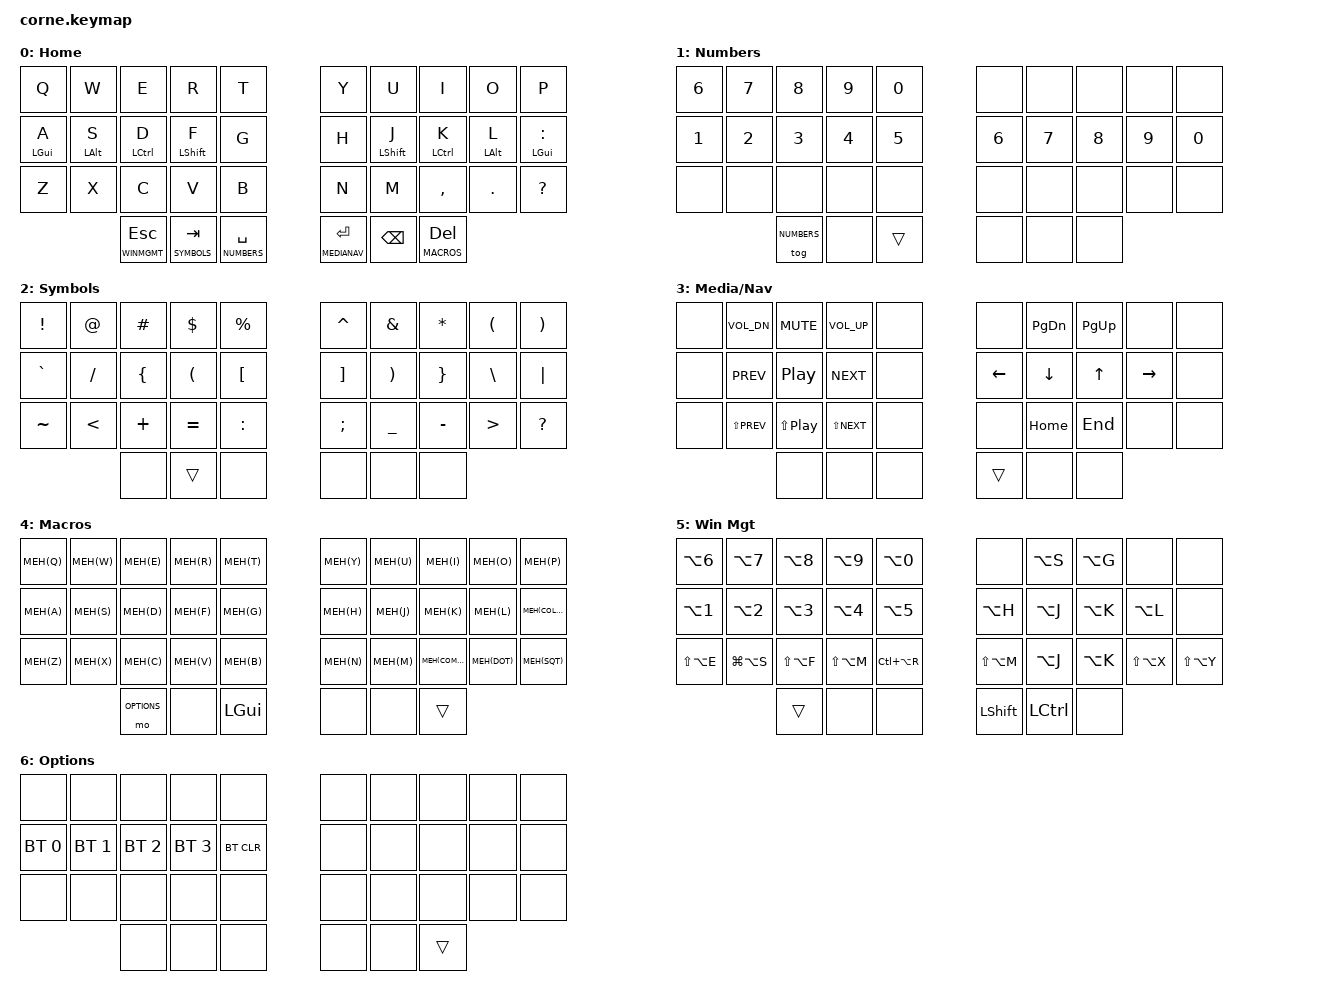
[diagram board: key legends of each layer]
#include <behaviors.dtsi>
#include <dt-bindings/zmk/keys.h>
#include <dt-bindings/zmk/bt.h>

#define DEFAULT     0
#define NUMBERS     1
#define SYMBOLS     2
#define MEDIANAV    3
#define MACROS      4
#define WINMGMT     5
#define OPTIONS     6

#define MEH(code) LS(LA(LC(code)))

/ {
    chosen {
      zmk,matrix_transform = &five_column_transform;
    };

    macros {
        // Layer + F-key macros for signaling
        lf13: layer_f13 {
            compatible = "zmk,behavior-macro-one-param";
            wait-ms = <0>;
            tap-ms = <0>;
            #binding-cells = <1>;
            bindings
                = <&macro_param_1to1>
                , <&macro_press &mo MACRO_PLACEHOLDER &kp F13>
                , <&macro_pause_for_release>
                , <&macro_param_1to1>
                , <&macro_release &mo MACRO_PLACEHOLDER &kp F13>
                ;
        };
        
        lf14: layer_f14 {
            compatible = "zmk,behavior-macro-one-param";
            wait-ms = <0>;
            tap-ms = <0>;
            #binding-cells = <1>;
            bindings
                = <&macro_param_1to1>
                , <&macro_press &mo MACRO_PLACEHOLDER &kp F14>
                , <&macro_pause_for_release>
                , <&macro_param_1to1>
                , <&macro_release &mo MACRO_PLACEHOLDER &kp F14>
                ;
        };
        
        lf15: layer_f15 {
            compatible = "zmk,behavior-macro-one-param";
            wait-ms = <0>;
            tap-ms = <0>;
            #binding-cells = <1>;
            bindings
                = <&macro_param_1to1>
                , <&macro_press &mo MACRO_PLACEHOLDER &kp F15>
                , <&macro_pause_for_release>
                , <&macro_param_1to1>
                , <&macro_release &mo MACRO_PLACEHOLDER &kp F15>
                ;
        };
        
        lf16: layer_f16 {
            compatible = "zmk,behavior-macro-one-param";
            wait-ms = <0>;
            tap-ms = <0>;
            #binding-cells = <1>;
            bindings
                = <&macro_param_1to1>
                , <&macro_press &mo MACRO_PLACEHOLDER &kp F16>
                , <&macro_pause_for_release>
                , <&macro_param_1to1>
                , <&macro_release &mo MACRO_PLACEHOLDER &kp F16>
                ;
        };
        
        lf17: layer_f17 {
            compatible = "zmk,behavior-macro-one-param";
            wait-ms = <0>;
            tap-ms = <0>;
            #binding-cells = <1>;
            bindings
                = <&macro_param_1to1>
                , <&macro_press &mo MACRO_PLACEHOLDER &kp F17>
                , <&macro_pause_for_release>
                , <&macro_param_1to1>
                , <&macro_release &mo MACRO_PLACEHOLDER &kp F17>
                ;
        };
        
        lf18: layer_f18 {
            compatible = "zmk,behavior-macro-one-param";
            wait-ms = <0>;
            tap-ms = <0>;
            #binding-cells = <1>;
            bindings
                = <&macro_param_1to1>
                , <&macro_press &mo MACRO_PLACEHOLDER &kp F18>
                , <&macro_pause_for_release>
                , <&macro_param_1to1>
                , <&macro_release &mo MACRO_PLACEHOLDER &kp F18>
                ;
        };
    };

    behaviors {
        hm: homerow_mods {
            compatible = "zmk,behavior-hold-tap";
            #binding-cells = <2>;
            tapping-term-ms = <200>;
            quick-tap-ms = <200>;
            flavor = "tap-preferred";
            bindings = <&kp>, <&kp>;
        };
        
        // Custom hold-tap for layer switching with F-key signaling
        lt_signal: layer_tap_signal {
            compatible = "zmk,behavior-hold-tap";
            #binding-cells = <2>;
            tapping-term-ms = <200>;
            quick-tap-ms = <200>;
            flavor = "tap-preferred";
            bindings = <&mo>, <&kp>;  // For simple layer switching without F-key
        };
        
        // Hold-tap that uses the layer+F-key macros
        lt_f13: layer_tap_f13 {
            compatible = "zmk,behavior-hold-tap";
            #binding-cells = <2>;
            tapping-term-ms = <200>;
            quick-tap-ms = <200>;
            flavor = "tap-preferred";
            bindings = <&lf13>, <&kp>;
        };
        
        lt_f14: layer_tap_f14 {
            compatible = "zmk,behavior-hold-tap";
            #binding-cells = <2>;
            tapping-term-ms = <200>;
            quick-tap-ms = <200>;
            flavor = "tap-preferred";
            bindings = <&lf14>, <&kp>;
        };
        
        lt_f15: layer_tap_f15 {
            compatible = "zmk,behavior-hold-tap";
            #binding-cells = <2>;
            tapping-term-ms = <200>;
            quick-tap-ms = <200>;
            flavor = "tap-preferred";
            bindings = <&lf15>, <&kp>;
        };
        
        lt_f16: layer_tap_f16 {
            compatible = "zmk,behavior-hold-tap";
            #binding-cells = <2>;
            tapping-term-ms = <200>;
            quick-tap-ms = <200>;
            flavor = "tap-preferred";
            bindings = <&lf16>, <&kp>;
        };
        
        lt_f17: layer_tap_f17 {
            compatible = "zmk,behavior-hold-tap";
            #binding-cells = <2>;
            tapping-term-ms = <200>;
            quick-tap-ms = <200>;
            flavor = "tap-preferred";
            bindings = <&lf17>, <&kp>;
        };
        
        lt_f18: layer_tap_f18 {
            compatible = "zmk,behavior-hold-tap";
            #binding-cells = <2>;
            tapping-term-ms = <200>;
            quick-tap-ms = <200>;
            flavor = "tap-preferred";
            bindings = <&lf18>, <&kp>;
        };
    };

    keymap {
        compatible = "zmk,keymap";

        default_layer {
            display-name = "Home";
            bindings = <
// ------------------------------------------------------------------------------------------------------------------------------------
// |     Q     |     W     |     E     |     R     |     T     |          |     Y     |     U     |     I     |     O     |     P     |
       &kp Q       &kp W       &kp E       &kp R       &kp T                  &kp Y       &kp U       &kp I       &kp O       &kp P
// |   A(GUI)  |   S(ALT)  |  D(CTRL)  |  F(SHFT)  |     G     |          |     H     |  J(SHFT)  |  K(CTRL)  |   L(ALT)  |   ;(GUI)  |
    &hm LGUI A  &hm LALT S  &hm LCTRL D &hm LSHIFT F   &kp G                  &kp H   &hm LSHIFT J &hm LCTRL K  &hm LALT L &hm LGUI COLON
// |     Z     |     X     |     C     |     V     |     B     |          |     N     |     M     |     ,     |     .     |     ?     |
       &kp Z       &kp X       &kp C       &kp V       &kp B                  &kp N       &kp M      &kp COMMA    &kp DOT   &kp QMARK
// |     ESC(WM)     |     TAB(Symb)    |      SPC(Num)        |          |     ENT(Media/Nav)   |    BKSP    |      DEL(MACROS)       |
  &lt_f17 WINMGMT ESC  &lt_f14 SYMBOLS TAB  &lt_f13 NUMBERS SPACE        &lt_f15 MEDIANAV RET    &kp BSPC     &lt_f16 MACROS DEL
// ------------------------------------------------------------------------------------------------------------------------------------
            >;
        };

        numbers_layer {
            display-name = "Numbers";
            bindings = <
// ------------------------------------------------------------------------------------------------------------------------------------
// |     6     |     7     |     8     |     9     |     0     |          |           |           |           |           |           |
      &kp N6      &kp N7      &kp N8      &kp N9      &kp N0                  &none       &none       &none       &none       &none
// |     1     |     2     |     3     |     4     |     5     |          |     6     |     7     |     8     |     9     |     0     |
       &kp N1     &kp N2      &kp N3      &kp N4      &kp N5                  &kp N6      &kp N7      &kp N8      &kp N9     &kp N0
// |           |           |           |           |           |          |           |           |           |           |           |
       &none       &none       &none       &none       &none                  &none       &none       &none       &none       &none
//                         | Tog Layer |           |||||||||||||          |           |           |           |
                            &tog NUMBERS   &none       &trans                 &none       &none       &none
// ------------------------------------------------------------------------------------------------------------------------------------
            >;
        };

        symbols_layer {
            display-name = "Symbols";
            bindings = <
// ------------------------------------------------------------------------------------------------------------------------------------
// |     !     |     @     |    /#     |     $     |     %     |          |     ^     |     &     |     *     |     (     |     )     |
     &kp EXCL     &kp AT     &kp HASH     &kp DLLR   &kp PRCNT              &kp CARET    &kp AMPS   &kp STAR    &kp LPAR    &kp RPAR
// |     `     |     /     |     {     |     (     |     [     |          |     ]     |     )     |     }     |     \     |     '     |
     &kp GRAVE   &kp FSLH    &kp LBRC     &kp LPAR   &kp LBKT               &kp RBKT     &kp RPAR   &kp RBRC    &kp BSLH    &kp PIPE
// |     ~     |     <     |     +     |     =     |     :     |          |     ;     |     _     |     -     |     >     |     ?     |
     &kp TILDE    &kp LT     &kp PLUS    &kp EQUAL   &kp COLON              &kp SEMI    &kp UNDER   &kp MINUS    &kp GT     &kp QMARK
//                         |           |||||||||||||           |          |           |           |           |
                               &none       &trans       &none                  &none      &none       &none
// ------------------------------------------------------------------------------------------------------------------------------------
            >;
        };

        media_layer {
            display-name = "Media/Nav";
            bindings = <
// ------------------------------------------------------------------------------------------------------------------------------------
// |           |  VOL DWN  |   MUTE    |   VOL UP  |           |          |           |  PG DWN   |   PG UP   |           |           |
       &none    &kp C_VOL_DN  &kp C_MUTE &kp C_VOL_UP   &none                  &none     &kp PG_DN   &kp PG_UP     &none       &none
// |           |   PREV    | PLY/PAUSE |   NEXT    |           |          |   LEFT    |   DOWN    |    UP     |   RIGHT   |           |
       &none    &kp C_PREV   &kp C_PP    &kp C_NEXT    &none                &kp LEFT    &kp DOWN     &kp UP     &kp RIGHT     &none
// |           |  [S] PREV |[S] PLY/PSE| [S] NEXT  |           |          |           |   Home    |    End    |           |           |
       &none &kp LS(C_PREV) &kp LS(C_PP) &kp LS(C_NEXT)  &none                &none     &kp HOME     &kp END      &none       &none
//                         |           |           |           |          |||||||||||||           |           |
                               &none       &none      &none                  &trans       &none       &none
// ------------------------------------------------------------------------------------------------------------------------------------
            >;
        };

        macros_layer {
            display-name = "Macros";
            bindings = <
// ------------------------------------------------------------------------------------------------------------------------------------
// |  Hyper Q  |  Hyper W  |  Hyper E  |  Hyper R  |  Hyper T  |          |  Hyper Y  |  Hyper U  |  Hyper I  |  Hyper O  |  Hyper p  |
     &kp MEH(Q)  &kp MEH(W)  &kp MEH(E)  &kp MEH(R)  &kp MEH(T)             &kp MEH(Y)  &kp MEH(U)  &kp MEH(I)  &kp MEH(O)  &kp MEH(P)
// |  Hyper A  |  Hyper S  |  Hyper D  |  Hyper F  |  Hyper G  |          |  Hyper H  |  Hyper J  |  Hyper K  |  Hyper L  |  Hyper ;  |
     &kp MEH(A)  &kp MEH(S)  &kp MEH(D)  &kp MEH(F)  &kp MEH(G)             &kp MEH(H)  &kp MEH(J)  &kp MEH(K)  &kp MEH(L)  &kp MEH(COLON)
// |  Hyper Z  |  Hyper X  |  Hyper C  |  Hyper V  |  Hyper B  |          |  Hyper N  |  Hyper M  |  Hyper ,  |  Hyper .  |  Hyper '  |
     &kp MEH(Z)  &kp MEH(X)  &kp MEH(C)  &kp MEH(V)  &kp MEH(B)             &kp MEH(N)  &kp MEH(M) &kp MEH(COMMA) &kp MEH(DOT) &kp MEH(SQT)
//                         |  OPTIONS  |           |    GUI    |          |           |           |||||||||||||
                          &mo OPTIONS     &none     &kp LGUI                 &none       &none      &trans
// ------------------------------------------------------------------------------------------------------------------------------------
            >;
        };

        winmgmt_layer {
            display-name = "Win Mgt";
            bindings = <
// ------------------------------------------------------------------------------------------------------------------------------------
// |   DIS 6   |   DIS 7   |   DIS 8   |   DIS 9   |   DIS 10  |          |           | DIS FOC P | DIS FOC N |           |           |
    &kp LA(N6)  &kp LA(N7)  &kp LA(N8)  &kp LA(N9)  &kp LA(N0)                &none     &kp LA(S)   &kp LA(G)     &none       &none
// |   DIS 1   |   DIS 2   |   DIS 3   |   DIS 4   |   DIS 5   |          | WIN FOC L | WIN FOC D | WIN FOC U | WIN FOC R |           |
    &kp LA(N1)  &kp LA(N2)  &kp LA(N3)  &kp LA(N4)  &kp LA(N5)              &kp LA(H)   &kp LA(J)   &kp LA(K)   &kp LA(L)     &none
// |   Reset   |  StatBar  | Fullscreen|   Mode    |  Restart  |          | ROT WINS  | SWP WIN P | SWP WIN N |   FLIP X  |   FLIP Y  |
  &kp LS(LA(E)) &kp LG(LA(S)) &kp LS(LA(F)) &kp LS(LA(M)) &kp LC(LA(R))   &kp LS(LA(M)) &kp LA(J)   &kp LA(K) &kp LS(LA(X)) &kp LS(LA(Y))
//                         |||||||||||||           |           |          |   SHIFT   |   CONTRL  |           |
                               &trans      &none       &none                &kp LSHIFT  &kp LCTRL     &none
// ------------------------------------------------------------------------------------------------------------------------------------
            >;
        };

        options_layer {
            display-name = "Options";
            bindings = <
// ------------------------------------------------------------------------------------------------------------------------------------
// |           |           |           |           |           |          |           |           |           |           |           |
       &none       &none       &none       &none       &none                  &none       &none       &none       &none       &none
// |    BT1    |    BT2    |    BT3    |    BT4    |   BT CLR  |          |           |           |           |           |           |
   &bt BT_SEL 0 &bt BT_SEL 1 &bt BT_SEL 2 &bt BT_SEL 3 &bt BT_CLR             &none       &none       &none       &none       &none
// |           |           |           |           |           |          |           |           |           |           |           |
       &none       &none       &none       &none       &none                  &none       &none       &none       &none       &none
//                         |           |           |           |          |           |           |||||||||||||
                               &none       &none       &none                  &none       &none       &trans
// ------------------------------------------------------------------------------------------------------------------------------------
            >;
        };
    };
};
